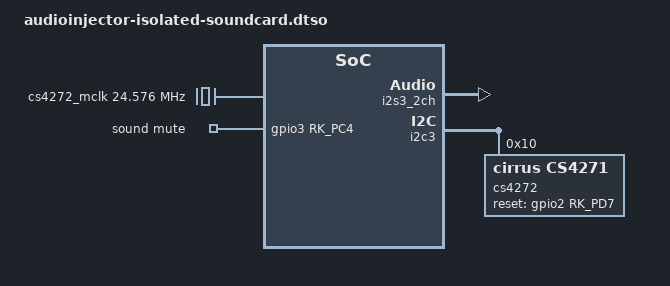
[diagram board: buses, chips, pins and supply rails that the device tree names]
/dts-v1/;
/plugin/;

#include <dt-bindings/gpio/gpio.h>
#include <dt-bindings/pinctrl/rockchip.h>

/ {
	metadata {
		title = "Enable Audio Injector Isolated Soundcard";
		compatible = "unknown";
		category = "misc";
		description = "Enable Audio Injector Isolated Soundcard";
	};
};

&i2s3_2ch {
	status = "okay";
};

&{/} {
	cs4272_mclk: codec-mclk {
		compatible = "fixed-clock";
		#clock-cells = <0>;
		clock-frequency = <24576000>;
	};
};

&i2c3 {
	#address-cells = <1>;
	#size-cells = <0>;
	status = "okay";
	pinctrl-0 = <&i2c3m0_xfer>;

	cs4272: cs4272@10 {
		#sound-dai-cells = <0>;
		compatible = "cirrus,cs4271";
		reg = <0x10>;
		//reset-gpio = <&gpio 5 0>;
		reset-gpio = <&gpio2 RK_PD7 GPIO_ACTIVE_HIGH>;
		clocks = <&cs4272_mclk>;
		clock-names = "mclk";
		status = "okay";
	};
};

&{/} {
	sound {
		compatible = "ai,audioinjector-isolated-soundcard";
		//mute-gpios = <&gpio 17 0>;
		mute-gpios = <&gpio3 RK_PC4 GPIO_ACTIVE_HIGH>;
		i2s-controller = <&i2s3_2ch>;
		codec = <&cs4272>;
		status = "okay";
	};
};
